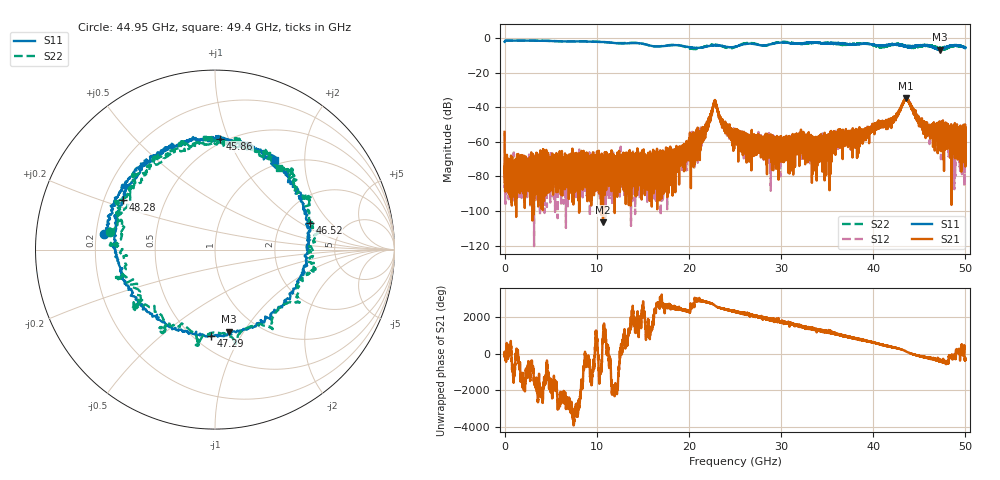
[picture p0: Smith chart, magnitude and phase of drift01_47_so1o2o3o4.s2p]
!Created with skrf (http://scikit-rf.org).
# Hz S RI R 50.0
!freq ReS11 ImS11 ReS21 ImS21 ReS12 ImS12 ReS22 ImS22
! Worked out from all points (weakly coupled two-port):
!   10001 points, 300 kHz to 50 GHz, reference 50 ohm
!   highest |S21| = -34.87 dB at 43.58 GHz (marker M1); lowest = -106.7 dB at 10.68 GHz (marker M2)
!   lowest |S11| = -6.7 dB at 47.21 GHz (marker M3), VSWR 2.73, Z = 37.2 - j43.3 ohm
!   |S11| at or under -10 dB: nowhere
!   |S22| runs from -6.9 to -1.4 dB; largest |S21 - S12| = 0.0037
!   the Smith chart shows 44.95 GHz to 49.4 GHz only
!   S11 on the Smith chart (normalised r, x): 44.95 GHz: 0.23, +0.06; 45.86 GHz: 0.47, +0.93; 46.52 GHz: 2.86, +1.19; 47.29 GHz: 0.60, -0.76; 48.28 GHz: 0.28, +0.23; 49.4 GHz: 0.92, +1.44
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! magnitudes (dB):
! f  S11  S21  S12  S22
! 300 kHz  -2.1  -54.3  -54.4  -2.1
! 255.3 MHz  -1.4  -80.1  -79.7  -1.4
! 535.3 MHz  -1.5  -89.2  -73.0  -1.5
! 8.335 GHz  -1.9  -75.2  -72.3  -1.8
! 10.68 GHz  -2.2  -106.7  -78.7  -2.3
! 16.67 GHz  -4.9  -71.8  -91.5  -4.8
! 20.67 GHz  -5.6  -67.2  -62.6  -6.3
! 22.81 GHz  -4.3  -36.1  -36.3  -4.0
! 23.78 GHz  -4.7  -51.2  -49.3  -4.9
! 25 GHz  -5.0  -55.1  -57.1  -5.1
! 29.45 GHz  -2.9  -63.3  -68.5  -2.7
! 33.34 GHz  -2.6  -60.4  -59.8  -2.7
! 41.67 GHz  -3.9  -49.7  -49.3  -4.5
! 43.58 GHz  -4.7  -34.9  -35.0  -4.8
! 44.95 GHz  -4.1  -45.8  -48.5  -4.5
! 45.86 GHz  -4.2  -51.1  -51.6  -4.2
! 46.52 GHz  -5.2  -51.7  -54.5  -5.0
! 47.21 GHz  -6.7  -55.4  -48.3  -5.9
! 47.29 GHz  -6.3  -54.2  -54.1  -6.0
! 48.28 GHz  -4.7  -61.1  -53.2  -4.9
! 49.4 GHz  -4.4  -62.7  -51.9  -4.7
! 50 GHz  -5.6  -54.7  -49.7  -5.5
